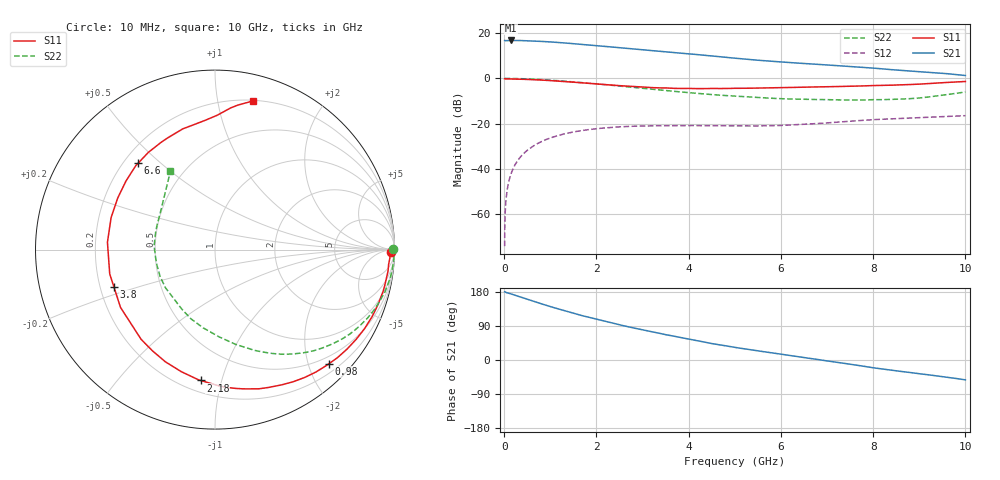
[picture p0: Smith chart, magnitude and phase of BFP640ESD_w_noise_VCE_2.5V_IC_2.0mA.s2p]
! Infineon Technologies  Discrete & RF Semiconductors
! BFP640ESD
! VCE =  2.5 V,  IC =  2.0 mA
! Common Emitter S-Parameters:  Jan 2016
# GHz  S  MA  R  50
!  f  S11  S21  S12  S22
! GHz  MAG  ANG  MAG  ANG  MAG  ANG  MAG  ANG
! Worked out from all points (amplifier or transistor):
!   233 points, 10 MHz to 10 GHz, reference 50 ohm
!   highest |S21| = 16.7 dB at 150 MHz (marker M1)
!   |S21| within 3 dB of that: start of sweep to 2.401 GHz
!   unconditionally stable (mu >= 1): 5.23 GHz to 9.213 GHz
!   at 200 MHz: K = 0.02, MSG = 28.2 dB, |S12| = -39.6 dB
!   at 1.74 GHz: K = 0.25, MSG = 18.9 dB, |S12| = -22.8 dB
!   at 10 GHz: K = 0.74, MSG = 8.9 dB, |S12| = -16.4 dB
!   lowest NFmin = 0.58 dB at 450 MHz
!   S11 on the Smith chart (normalised r, x): 10 MHz: 69, -51; 980 MHz: 0.36, -2.36; 2.18 GHz: 0.27, -0.86; 3.8 GHz: 0.26, -0.17; 6.6 GHz: 0.26, +0.42; 10 GHz: 0.21, +1.27
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0.01  0.9814 -0.8  6.86 180.0  0.0002 107.1  0.992 0.3
0.015  0.9784 -0.9  6.832 180.0  0.0006 91.7  0.9959 -0.0
0.02  0.9754 -1.1  6.804 179.9  0.001 88.6  0.9998 -0.3
0.04  0.9757 -2.1  6.812 178.5  0.0021 90.1  0.9989 -1.1
0.09  0.9718 -4.4  6.848 176.6  0.0048 87.4  0.9978 -2.5
0.15  0.9718 -7.0  6.873 174.2  0.0079 85.4  0.9966 -4.2
0.28  0.9658 -13.0  6.853 169.0  0.0148 81.6  0.9914 -7.7
0.5  0.9513 -23.2  6.786 160.2  0.0259 75.2  0.9759 -13.9
0.72  0.9295 -33.3  6.639 151.6  0.0365 68.7  0.9529 -19.6
0.98  0.8985 -45.1  6.403 141.8  0.0479 61.5  0.9191 -26.4
1.3  0.8554 -59.4  6.071 130.2  0.0598 53.1  0.8713 -34.3
1.68  0.8013 -75.7  5.643 117.4  0.0708 44.2  0.8097 -42.7
2.18  0.7332 -96.3  5.087 102.1  0.081 34.5  0.7299 -52.7
2.8  0.6627 -121.8  4.463 84.7  0.0883 24.1  0.6315 -64.8
3.4  0.6176 -144.6  3.929 69.6  0.0906 16.9  0.5519 -75.7
3.8  0.6005 -159.5  3.625 60.0  0.0912 13.3  0.5062 -83.3
4.5  0.6006 176.1  3.138 43.4  0.0911 8.2  0.4406 -98.7
5.1  0.6056 160.6  2.736 31.4  0.0899 6.6  0.4017 -111.0
6.6  0.6444 131.6  2.102 4.7  0.0985 7.7  0.3456 -144.6
6.8  0.6493 128.0  2.038 1.3  0.1014 7.6  0.3421 -149.2
8.4  0.7098 98.0  1.561 -26.9  0.1285 -0.3  0.3442 164.1
10  0.8554 75.6  1.159 -52.4  0.1509 -11.8  0.5018 119.7
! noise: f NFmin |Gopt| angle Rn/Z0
0.45  0.58  0.67  11  0.24
0.9  0.61  0.63  24  0.22
1.9  0.75  0.52  52  0.19
2.4  0.85  0.47  72  0.17
5.5  1.42  0.4  -153  0.18
10  3.03  0.7  -84  1.7
